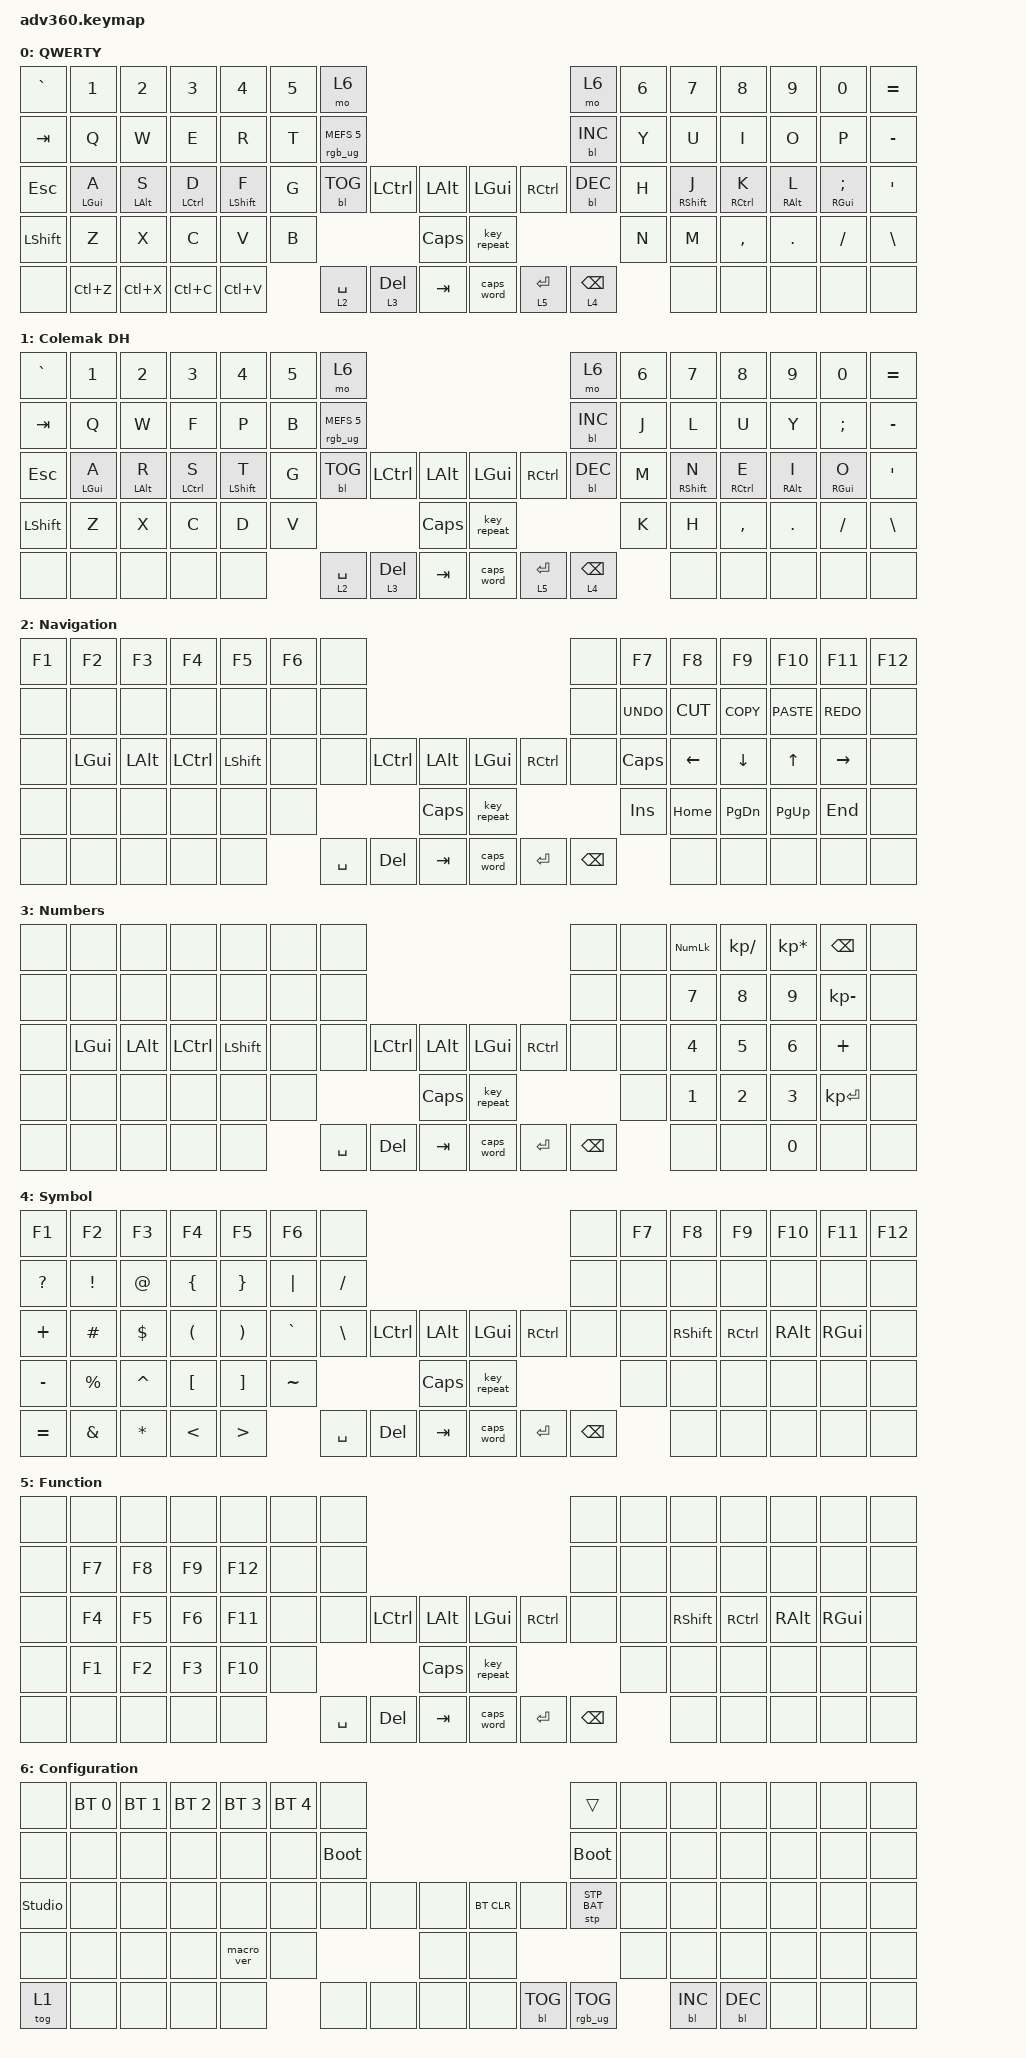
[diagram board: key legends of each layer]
/*
 * Copyright (c) 2020 The ZMK Contributors
 *
 * SPDX-License-Identifier: MIT
 */
/* THIS FILE WAS GENERATED!
 *
 * This file was generated automatically. You may or may not want to
 * edit it directly.
 */

#include <dt-bindings/zmk/stp.h>
#include <behaviors.dtsi>
#include <dt-bindings/zmk/backlight.h>
#include <dt-bindings/zmk/bt.h>
#include <dt-bindings/zmk/keys.h>
#include <dt-bindings/zmk/rgb.h>

/ {
    behaviors {
        #include "macros.dtsi"
        #include "version.dtsi"

        hml: homerow_mods_left {
            compatible = "zmk,behavior-hold-tap";
            label = "HOMEROW_MODS_LEFT";
            #binding-cells = <2>;
            tapping-term-ms = <280>;
            flavor = "balanced";
            bindings = <&kp>, <&kp>;

            quick-tap-ms = <175>;
            require-prior-idle-ms = <150>;
            hold-trigger-on-release;
            hold-trigger-key-positions = <35 36 52 65 66 67 7 8 9 10 11 12 13 21 22 23 24 25 26 27 37 38 39 40 41 42 43 44 45 53 54 55 56 57 58 59 68 69 70 71 72 73 74 75>;
        };

        hmr: homerow_mods_right {
            compatible = "zmk,behavior-hold-tap";
            label = "HOMEROW_MODS_RIGHT";
            #binding-cells = <2>;
            tapping-term-ms = <280>;
            flavor = "balanced";
            bindings = <&kp>, <&kp>;

            quick-tap-ms = <175>;
            require-prior-idle-ms = <150>;
            hold-trigger-on-release;
            hold-trigger-key-positions = <37 38 53 68 69 70 0 1 2 3 4 5 6 14 15 16 17 18 19 20 28 29 30 31 32 33 34 35 36 46 47 48 49 50 51 52 60 61 62 63 64 65 66 67>;
        };
    };

    keymap {
        compatible = "zmk,keymap";

        qwerty_layer {
            bindings = <
&kp GRAVE  &kp N1       &kp N2       &kp N3        &kp N4        &kp N5  &mo 6                                                                          &mo 6            &kp N6  &kp N7        &kp N8        &kp N9       &kp N0          &kp EQUAL
&kp TAB    &kp Q        &kp W        &kp E         &kp R         &kp T   &rgb_ug RGB_MEFS_CMD 5                                                         &bl BL_INC       &kp Y   &kp U         &kp I         &kp O        &kp P           &kp MINUS
&kp ESC    &hml LGUI A  &hml LALT S  &hml LCTRL D  &hml LSHFT F  &kp G   &bl BL_TOG              &kp LCTRL  &kp LALT          &kp LGUI     &kp RCTRL    &bl BL_DEC       &kp H   &hmr RSHFT J  &hmr RCTRL K  &hmr RALT L  &hmr RGUI SEMI  &kp SQT
&kp LSHFT  &kp Z        &kp X        &kp C         &kp V         &kp B                                      &kp CAPSLOCK      &key_repeat                                &kp N   &kp M         &kp COMMA     &kp DOT      &kp FSLH        &kp BACKSLASH
&none      &kp LC(Z)    &kp LC(X)    &kp LC(C)     &kp LC(V)             &lt 2 SPACE             &lt 3 DEL  &kp TAB           &caps_word   &lt 5 ENTER  &lt 4 BACKSPACE          &none         &none         &none        &none           &none
            >;

            label = "QWERTY";
        };

        colemak_dh_layer {
            label = "Colemak DH";
            bindings = <
&kp GRAVE  &kp N1       &kp N2       &kp N3        &kp N4        &kp N5  &mo 6                                                                          &mo 6            &kp N6  &kp N7        &kp N8        &kp N9       &kp N0       &kp EQUAL
&kp TAB    &kp Q        &kp W        &kp F         &kp P         &kp B   &rgb_ug RGB_MEFS_CMD 5                                                         &bl BL_INC       &kp J   &kp L         &kp U         &kp Y        &kp SEMI     &kp MINUS
&kp ESC    &hml LGUI A  &hml LALT R  &hml LCTRL S  &hml LSHFT T  &kp G   &bl BL_TOG              &kp LCTRL  &kp LALT          &kp LGUI     &kp RCTRL    &bl BL_DEC       &kp M   &hmr RSHFT N  &hmr RCTRL E  &hmr RALT I  &hmr RGUI O  &kp SQT
&kp LSHFT  &kp Z        &kp X        &kp C         &kp D         &kp V                                      &kp CAPSLOCK      &key_repeat                                &kp K   &kp H         &kp COMMA     &kp DOT      &kp FSLH     &kp BACKSLASH
&none      &none        &none        &none         &none                 &lt 2 SPACE             &lt 3 DEL  &kp TAB           &caps_word   &lt 5 ENTER  &lt 4 BACKSPACE          &none         &none         &none        &none        &none
            >;
        };

        navigation_layer {
            bindings = <
&kp F1  &kp F2    &kp F3    &kp F4     &kp F5     &kp F6  &none                                                       &none     &kp F7      &kp F8     &kp F9         &kp F10      &kp F11     &kp F12
&none   &none     &none     &none      &none      &none   &none                                                       &none     &kp K_UNDO  &kp K_CUT  &kp K_COPY     &kp K_PASTE  &kp K_REDO  &none
&none   &kp LGUI  &kp LALT  &kp LCTRL  &kp LSHFT  &none   &none      &kp LCTRL  &kp LALT      &kp LGUI     &kp RCTRL  &none     &kp CAPS    &kp LEFT   &kp DOWN       &kp UP       &kp RIGHT   &none
&none   &none     &none     &none      &none      &none                         &kp CAPS      &key_repeat                       &kp INS     &kp HOME   &kp PAGE_DOWN  &kp PAGE_UP  &kp END     &none
&none   &none     &none     &none      &none              &kp SPACE  &kp DEL    &kp TAB       &caps_word   &kp ENTER  &kp BSPC              &none      &none          &none        &none       &none
            >;

            label = "Navigation";
        };

        number_layer {
            bindings = <
&none  &none     &none     &none      &none      &none  &none                                                       &none     &none  &kp KP_NUM  &kp KP_DIVIDE  &kp KP_MULTIPLY  &kp BACKSPACE  &none
&none  &none     &none     &none      &none      &none  &none                                                       &none     &none  &kp N7      &kp N8         &kp N9           &kp KP_MINUS   &none
&none  &kp LGUI  &kp LALT  &kp LCTRL  &kp LSHFT  &none  &none      &kp LCTRL  &kp LALT      &kp LGUI     &kp RCTRL  &none     &none  &kp N4      &kp N5         &kp N6           &kp PLUS       &none
&none  &none     &none     &none      &none      &none                        &kp CAPS      &key_repeat                       &none  &kp N1      &kp N2         &kp N3           &kp KP_ENTER   &none
&none  &none     &none     &none      &none             &kp SPACE  &kp DEL    &kp TAB       &caps_word   &kp ENTER  &kp BSPC         &none       &none          &kp N0           &none          &none
            >;

            label = "Numbers";
        };

        symbol_layer {
            label = "Symbol";
            bindings = <
&kp F1        &kp F2         &kp F3        &kp F4                &kp F5                 &kp F6     &none                                                       &none     &kp F7  &kp F8     &kp F9     &kp F10   &kp F11   &kp F12
&kp QUESTION  &kp EXCL       &kp AT        &kp LEFT_BRACE        &kp RIGHT_BRACE        &kp PIPE   &kp FSLH                                                    &none     &none   &none      &none      &none     &none     &none
&kp PLUS      &kp HASH       &kp DOLLAR    &kp LEFT_PARENTHESIS  &kp RIGHT_PARENTHESIS  &kp GRAVE  &kp BSLH   &kp LCTRL  &kp LALT      &kp LGUI     &kp RCTRL  &none     &none   &kp RSHFT  &kp RCTRL  &kp RALT  &kp RGUI  &none
&kp MINUS     &kp PERCENT    &kp CARET     &kp LEFT_BRACKET      &kp RIGHT_BRACKET      &kp TILDE                        &kp CAPS      &key_repeat                       &none   &none      &none      &none     &none     &none
&kp EQUAL     &kp AMPERSAND  &kp ASTERISK  &kp LESS_THAN         &kp GREATER_THAN                  &kp SPACE  &kp DEL    &kp TAB       &caps_word   &kp ENTER  &kp BSPC          &none      &none      &none     &none     &none
            >;
        };

        function_layer {
            bindings = <
&none  &none   &none   &none   &none    &none  &none                                                       &none     &none  &none      &none      &none     &none     &none
&none  &kp F7  &kp F8  &kp F9  &kp F12  &none  &none                                                       &none     &none  &none      &none      &none     &none     &none
&none  &kp F4  &kp F5  &kp F6  &kp F11  &none  &none      &kp LCTRL  &kp LALT      &kp LGUI     &kp RCTRL  &none     &none  &kp RSHFT  &kp RCTRL  &kp RALT  &kp RGUI  &none
&none  &kp F1  &kp F2  &kp F3  &kp F10  &none                        &kp CAPS      &key_repeat                       &none  &none      &none      &none     &none     &none
&none  &none   &none   &none   &none           &kp SPACE  &kp DEL    &kp TAB       &caps_word   &kp ENTER  &kp BSPC         &none      &none      &none     &none     &none
            >;

            label = "Function";
        };

        configuration_layer {
            bindings = <
&none           &bt BT_SEL 0  &bt BT_SEL 1  &bt BT_SEL 2  &bt BT_SEL 3  &bt BT_SEL 4  &none                                                  &trans           &none  &none       &none       &none  &none  &none
&none           &none         &none         &none         &none         &none         &bootloader                                            &bootloader      &none  &none       &none       &none  &none  &none
&studio_unlock  &none         &none         &none         &none         &none         &none        &none  &none      &bt BT_CLR  &none       &stp STP_BAT     &none  &none       &none       &none  &none  &none
&none           &none         &none         &none         &macro_ver    &none                             &none      &none                                    &none  &none       &none       &none  &none  &none
&tog 1          &none         &none         &none         &none                       &none        &none  &none      &none       &bl BL_TOG  &rgb_ug RGB_TOG         &bl BL_INC  &bl BL_DEC  &none  &none  &none
            >;

            label = "Configuration";
        };
    };

    extra1 {
        display-name = "Red";
        status = "reserved";
    };

    extra2 {
        display-name = "Purple";
        status = "reserved";
    };

    extra3 {
        display-name = "Cyan";
        status = "reserved";
    };

    extra4 {
        display-name = "Yellow";
        status = "reserved";
    };
};
